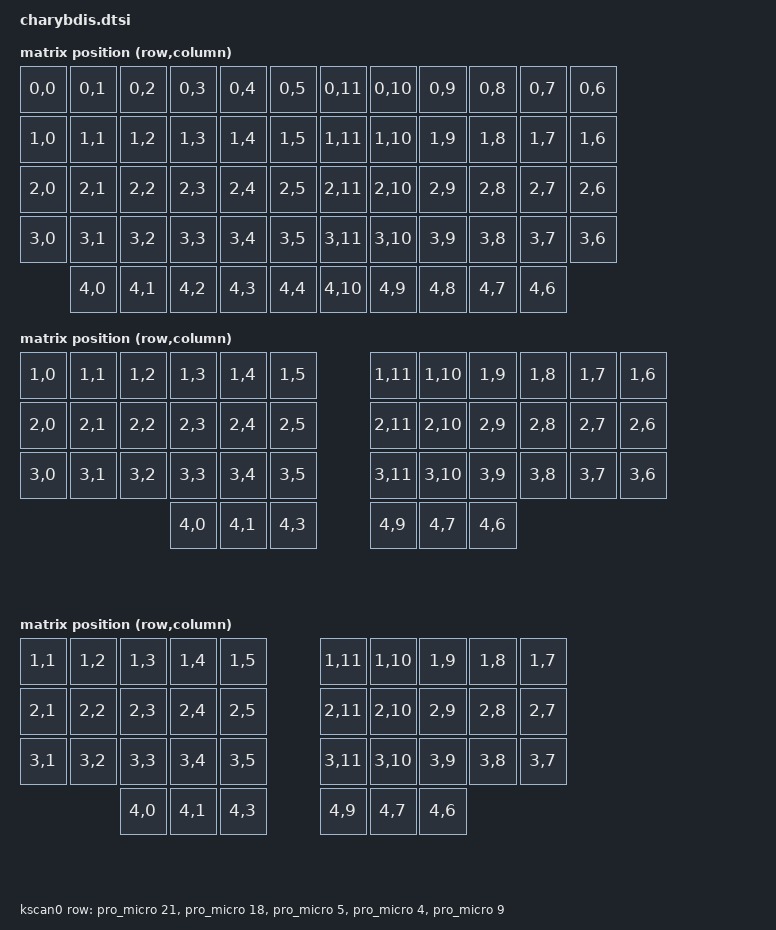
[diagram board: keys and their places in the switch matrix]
#include <dt-bindings/zmk/matrix_transform.h>
#include <physical_layouts.dtsi>
#include "charybdis-layouts.dtsi"

/ {
    chosen {
        zmk,physical-layout = &physical_layout0;
    };

    matrix_transform0:  keymap_transform_0 {
        compatible = "zmk,matrix-transform";
        columns = <12>;
        rows = <5>;

        map = <
	RC(0,0) RC(0,1) RC(0,2) RC(0,3) RC(0,4) RC(0,5)  RC(0,11) RC(0,10) RC(0,9) RC(0,8) RC(0,7) RC(0,6)
	RC(1,0) RC(1,1) RC(1,2) RC(1,3) RC(1,4) RC(1,5)  RC(1,11) RC(1,10) RC(1,9) RC(1,8) RC(1,7) RC(1,6)
	RC(2,0) RC(2,1) RC(2,2) RC(2,3) RC(2,4) RC(2,5)  RC(2,11) RC(2,10) RC(2,9) RC(2,8) RC(2,7) RC(2,6)
	RC(3,0) RC(3,1) RC(3,2) RC(3,3) RC(3,4) RC(3,5)  RC(3,11) RC(3,10) RC(3,9) RC(3,8) RC(3,7) RC(3,6)
	        RC(4,0) RC(4,1) RC(4,2) RC(4,3) RC(4,4)  RC(4,10) RC(4,9)  RC(4,8) RC(4,7) RC(4,6)
        >;
    };

    matrix_transform1:  keymap_transform_1 {
        compatible = "zmk,matrix-transform";
        columns = <12>;
        rows = <5>;
        map = <
	RC(1,0) RC(1,1) RC(1,2) RC(1,3) RC(1,4) RC(1,5)  RC(1,11) RC(1,10) RC(1,9) RC(1,8) RC(1,7) RC(1,6)
	RC(2,0) RC(2,1) RC(2,2) RC(2,3) RC(2,4) RC(2,5)  RC(2,11) RC(2,10) RC(2,9) RC(2,8) RC(2,7) RC(2,6)
	RC(3,0) RC(3,1) RC(3,2) RC(3,3) RC(3,4) RC(3,5)  RC(3,11) RC(3,10) RC(3,9) RC(3,8) RC(3,7) RC(3,6)
	        RC(4,0) RC(4,1)         RC(4,3)                   RC(4,9)          RC(4,7) RC(4,6)
        >;
    };
    matrix_transform2:  keymap_transform_2{
        compatible = "zmk,matrix-transform";
        columns = <12>;
        rows = <5>;
        map = <
	        RC(1,1) RC(1,2) RC(1,3) RC(1,4) RC(1,5)  RC(1,11) RC(1,10) RC(1,9) RC(1,8) RC(1,7)
	        RC(2,1) RC(2,2) RC(2,3) RC(2,4) RC(2,5)  RC(2,11) RC(2,10) RC(2,9) RC(2,8) RC(2,7)
	        RC(3,1) RC(3,2) RC(3,3) RC(3,4) RC(3,5)  RC(3,11) RC(3,10) RC(3,9) RC(3,8) RC(3,7)
	        RC(4,0) RC(4,1)         RC(4,3)                   RC(4,9)          RC(4,7) RC(4,6)
        >;
    };
    kscan0: kscan {
        compatible = "zmk,kscan-gpio-matrix";
        label = "KSCAN";

        diode-direction = "row2col";
		row-gpios
			= <&pro_micro 21 GPIO_ACTIVE_HIGH>
			 ,<&pro_micro 18 GPIO_ACTIVE_HIGH>
			, <&pro_micro 5 GPIO_ACTIVE_HIGH>
			, <&pro_micro 4 GPIO_ACTIVE_HIGH>
			, <&pro_micro 9 GPIO_ACTIVE_HIGH>
            ;
    };
};


// https://github.com/kot149/zenn-contents/blob/main/articles/zmk-auto-mouse-layer.md#%E3%82%AD%E3%83%BC%E5%85%A5%E5%8A%9B%E4%B8%AD%E3%81%AE%E3%82%AA%E3%83%BC%E3%83%88%E3%83%9E%E3%82%A6%E3%82%B9%E3%83%AC%E3%82%A4%E3%83%A4%E3%83%BC%E8%AA%A4%E7%88%86%E9%98%B2%E6%AD%A2
&zip_temp_layer {
    // 需要在输入事件发生后200ms idle，再碰球才会触发 auto_mouse，避免误触发
    require-prior-idle-ms = <200>;
    // 除了这些鼠标键，按下其他按键立刻退出 auto_mouse
    excluded-positions = <
        35 34 33 // h j k
        53 54 55 56 57 // right thumbs

        27 28 29
        39 40
    >;
};

/ {
    split_inputs {
        #address-cells = <1>;
        #size-cells = <0>;

        pmw_split: pmw_split@0 {
            compatible = "zmk,input-split";
            reg = <0>;
        };
    };

    pmw_listener: pmw_listener {
        compatible = "zmk,input-listener";
        status = "disabled";
        device = <&pmw_split>;
    };
};
